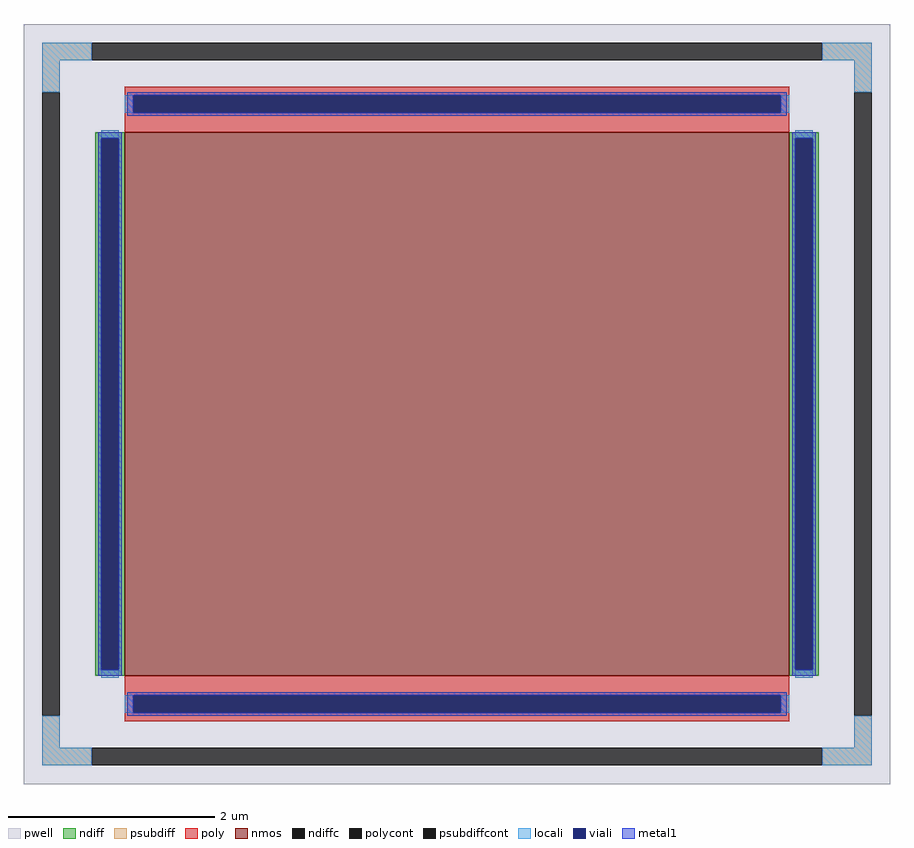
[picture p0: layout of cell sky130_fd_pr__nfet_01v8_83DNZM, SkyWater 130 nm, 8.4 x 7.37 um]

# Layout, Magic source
magic
tech sky130A
magscale 1 2
<< pwell >>
rect -840 -737 840 737
<< nmos >>
rect -644 -527 644 527
<< ndiff >>
rect -702 515 -644 527
rect -702 -515 -690 515
rect -656 -515 -644 515
rect -702 -527 -644 -515
rect 644 515 702 527
rect 644 -515 656 515
rect 690 -515 702 515
rect 644 -527 702 -515
<< ndiffc >>
rect -690 -515 -656 515
rect 656 -515 690 515
<< psubdiff >>
rect -804 667 -708 701
rect 708 667 804 701
rect -804 605 -770 667
rect 770 605 804 667
rect -804 -667 -770 -605
rect 770 -667 804 -605
rect -804 -701 -708 -667
rect 708 -701 804 -667
<< psubdiffcont >>
rect -708 667 708 701
rect -804 -605 -770 605
rect 770 -605 804 605
rect -708 -701 708 -667
<< poly >>
rect -644 599 644 615
rect -644 565 -628 599
rect 628 565 644 599
rect -644 527 644 565
rect -644 -565 644 -527
rect -644 -599 -628 -565
rect 628 -599 644 -565
rect -644 -615 644 -599
<< polycont >>
rect -628 565 628 599
rect -628 -599 628 -565
<< locali >>
rect -804 667 -708 701
rect 708 667 804 701
rect -804 605 -770 667
rect 770 605 804 667
rect -644 565 -628 599
rect 628 565 644 599
rect -690 515 -656 531
rect -690 -531 -656 -515
rect 656 515 690 531
rect 656 -531 690 -515
rect -644 -599 -628 -565
rect 628 -599 644 -565
rect -804 -667 -770 -605
rect 770 -667 804 -605
rect -804 -701 -708 -667
rect 708 -701 804 -667
<< viali >>
rect -628 565 628 599
rect -690 -515 -656 515
rect 656 -515 690 515
rect -628 -599 628 -565
<< metal1 >>
rect -640 599 640 605
rect -640 565 -628 599
rect 628 565 640 599
rect -640 559 640 565
rect -696 515 -650 527
rect -696 -515 -690 515
rect -656 -515 -650 515
rect -696 -527 -650 -515
rect 650 515 696 527
rect 650 -515 656 515
rect 690 -515 696 515
rect 650 -527 696 -515
rect -640 -565 640 -559
rect -640 -599 -628 -565
rect 628 -599 640 -565
rect -640 -605 640 -599
<< properties >>
string FIXED_BBOX -787 -684 787 684
string gencell sky130_fd_pr__nfet_01v8
string library sky130
string parameters w 5.27 l 6.44 m 1 nf 1 diffcov 100 polycov 100 guard 1 glc 1 grc 1 gtc 1 gbc 1 tbcov 100 rlcov 100 topc 1 botc 1 poverlap 0 doverlap 0 lmin 0.15 wmin 0.42 compatible {sky130_fd_pr__nfet_01v8 sky130_fd_pr__nfet_01v8_lvt  sky130_fd_bs_flash__special_sonosfet_star  sky130_fd_pr__nfet_g5v0d10v5 sky130_fd_pr__nfet_05v0_nvt  sky130_fd_pr__nfet_03v3_nvt} full_metal 1 viasrc 100 viadrn 100 viagate 100 viagb 0 viagr 0 viagl 0 viagt 0
<< end >>
